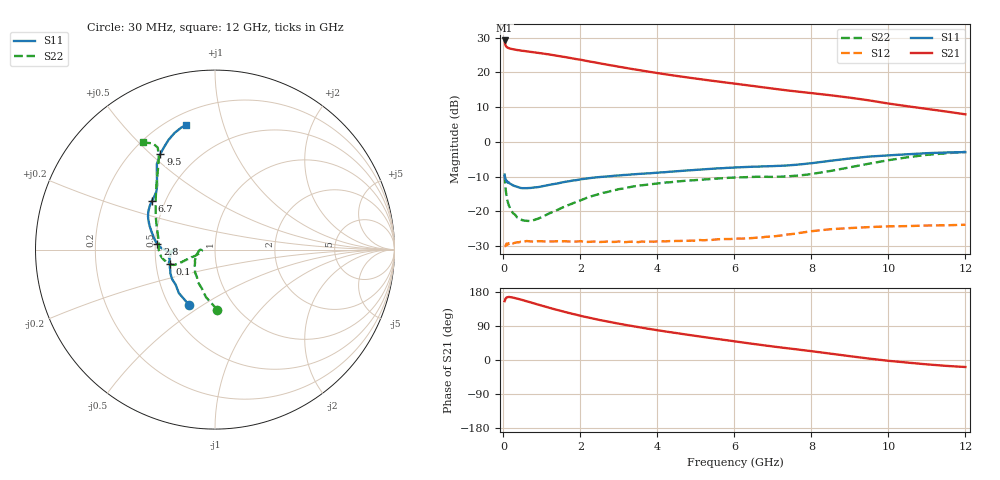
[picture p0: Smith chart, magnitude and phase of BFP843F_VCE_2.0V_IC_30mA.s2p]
! Infineon Technologies  Discrete & RF Semiconductors
! BFP843F
! VCE =  2.0 V,  IC =  30 mA
! Common Emitter S-Parameters:  Aug 2013
# GHz  S  MA  R  50
!  f  S11  S21  S12  S22
! GHz  MAG  ANG  MAG  ANG  MAG  ANG  MAG  ANG
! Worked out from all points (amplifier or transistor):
!   103 points, 30 MHz to 12 GHz, reference 50 ohm
!   highest |S21| = 29.2 dB at 30 MHz (marker M1)
!   |S21| within 3 dB of that: start of sweep to 517.9 MHz
!   unconditionally stable (mu >= 1): 107.9 MHz to end of sweep
!   at 400 MHz: K = 1.02, MAG = 26.7 dB, |S12| = -28.9 dB
!   at 3.7 GHz: K = 1.27, MAG = 21.4 dB, |S12| = -28.7 dB
!   at 12 GHz: K = 1.17, MAG = 13.3 dB, |S12| = -23.8 dB
!   S11 on the Smith chart (normalised r, x): 30 MHz: 0.63, -0.44; 100 MHz: 0.59, -0.10; 2.8 GHz: 0.51, +0.04; 6.7 GHz: 0.42, +0.28; 9.5 GHz: 0.31, +0.54; 12 GHz: 0.27, +0.76
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0.03  0.3395 -115.4  28.72 155.3  0.0317 27.3  0.3361 -87.7
0.04  0.3149 -129.8  26.26 157.6  0.0317 17.8  0.2698 -100.7
0.05  0.2941 -138.0  24.8 161.1  0.0323 19.0  0.2284 -108.8
0.07  0.2821 -151.7  23.52 163.8  0.0333 13.2  0.1824 -123.6
0.1  0.2631 -162.2  22.73 165.6  0.0332 11.1  0.1466 -140.1
0.13  0.258 -168.4  22.34 166.3  0.035 13.9  0.1279 -151.2
0.2  0.2459 -175.8  21.73 165.6  0.0351 7.7  0.1039 -166.3
0.9  0.2239 -178.0  19.04 146.2  0.0374 3.6  0.0788 -170.7
1.2  0.2415 -177.1  18.03 137.6  0.0371 4.0  0.0944 -165.4
1.6  0.2665 -178.5  16.59 126.7  0.0373 4.9  0.1183 -162.1
2.1  0.2945 178.7  14.81 114.3  0.0366 6.2  0.1517 -161.5
2.5  0.3124 176.1  13.48 105.5  0.0364 6.2  0.1791 -160.3
2.8  0.3223 174.5  12.58 99.8  0.0365 6.9  0.1975 -159.2
3.4  0.3423 170.0  11.04 88.6  0.037 10.1  0.2302 -159.4
4.1  0.365 164.8  9.578 77.0  0.0373 12.4  0.2559 -160.9
5  0.3964 158.2  8.131 63.5  0.038 16.4  0.2829 -166.2
6.1  0.4308 149.1  6.779 47.9  0.0408 20.4  0.3085 -176.2
6.7  0.4438 142.5  6.133 39.7  0.0422 23.2  0.315 177.5
8.5  0.5356 127.2  4.678 16.7  0.0556 25.1  0.3826 149.8
9.5  0.6152 119.6  3.949 3.7  0.0596 21.7  0.4868 132.1
10.5  0.6642 112.9  3.252 -6.9  0.0616 19.0  0.6015 121.3
12  0.7124 103.2  2.491 -18.5  0.0644 19.2  0.7192 123.9
